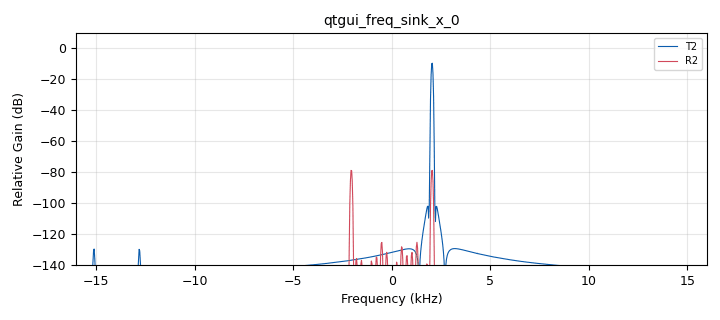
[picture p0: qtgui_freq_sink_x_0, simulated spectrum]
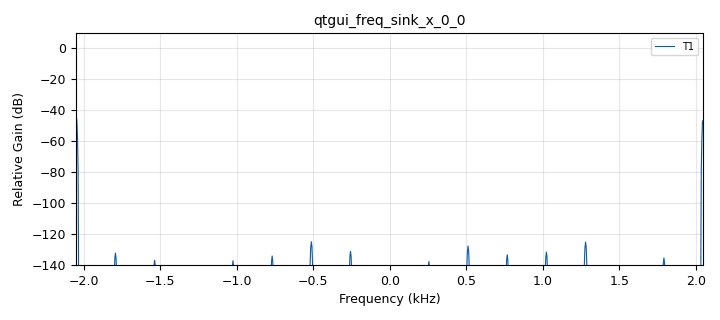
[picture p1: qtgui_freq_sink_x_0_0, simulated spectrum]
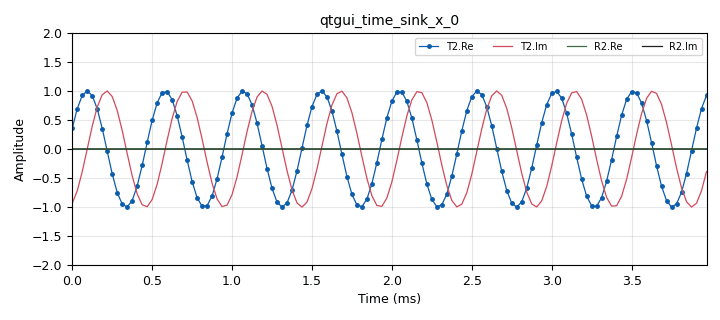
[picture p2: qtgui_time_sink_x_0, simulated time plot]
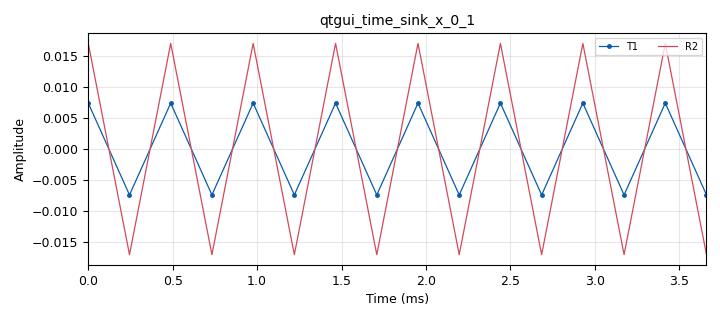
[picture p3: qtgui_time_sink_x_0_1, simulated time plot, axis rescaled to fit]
<?xml version='1.0' encoding='utf-8'?>
<?grc format='1' created='3.7.13'?>
<flow_graph>
<block>
<key>options</key>
<param><key>id</key><value>top_block</value></param>
<param><key>generate_options</key><value>qt_gui</value></param>
<param><key>run</key><value>run_stop</value></param>
</block>
<block>
<key>variable</key>
<param><key>id</key><value>Ap</value></param>
<param><key>_enabled</key><value>0</value></param>
<param><key>value</key><value>0.5</value></param>
</block>
<block>
<key>variable_qtgui_range</key>
<param><key>id</key><value>Del</value></param>
<param><key>value</key><value>0</value></param>
<param><key>gui_hint</key><value>0,2,1,1</value></param>
<param><key>label</key><value>Retardo</value></param>
<param><key>orient</key><value>Qt.Horizontal</value></param>
<param><key>start</key><value>0</value></param>
<param><key>step</key><value>1</value></param>
<param><key>stop</key><value>20000</value></param>
<param><key>rangeType</key><value>int</value></param>
</block>
<block>
<key>variable</key>
<param><key>id</key><value>Fs_deseada</value></param>
<param><key>value</key><value>f*2</value></param>
</block>
<block>
<key>variable</key>
<param><key>id</key><value>Fs_deseada</value></param>
<param><key>_enabled</key><value>0</value></param>
<param><key>value</key><value>samp_rate/Kd</value></param>
</block>
<block>
<key>variable</key>
<param><key>id</key><value>Kd</value></param>
<param><key>value</key><value>float(samp_rate)/Fs_deseada</value></param>
</block>
<block>
<key>variable</key>
<param><key>id</key><value>Kd</value></param>
<param><key>_enabled</key><value>0</value></param>
<param><key>value</key><value>6</value></param>
</block>
<block>
<key>variable_qtgui_range</key>
<param><key>id</key><value>Vol</value></param>
<param><key>value</key><value>1.</value></param>
<param><key>gui_hint</key><value>0,1,1,1</value></param>
<param><key>label</key><value>Volumen</value></param>
<param><key>orient</key><value>Qt.Horizontal</value></param>
<param><key>start</key><value>0</value></param>
<param><key>step</key><value>10/100.</value></param>
<param><key>stop</key><value>10.</value></param>
</block>
<block>
<key>variable</key>
<param><key>id</key><value>f</value></param>
<param><key>value</key><value>2048</value></param>
</block>
<block>
<key>variable</key>
<param><key>id</key><value>f_nyq</value></param>
<param><key>value</key><value>f*2</value></param>
</block>
<block>
<key>variable_qtgui_check_box</key>
<param><key>id</key><value>run_stop</value></param>
<param><key>value</key><value>True</value></param>
<param><key>false</key><value>False</value></param>
<param><key>gui_hint</key><value>0,0</value></param>
<param><key>label</key><value>Inicial/Parar</value></param>
<param><key>true</key><value>True</value></param>
<param><key>type</key><value>int</value></param>
</block>
<block>
<key>variable</key>
<param><key>id</key><value>samp_rate</value></param>
<param><key>value</key><value>32000</value></param>
</block>
<block>
<key>variable</key>
<param><key>id</key><value>samp_rate_audio</value></param>
<param><key>_enabled</key><value>0</value></param>
<param><key>value</key><value>11000</value></param>
</block>
<block>
<key>analog_sig_source_x</key>
<param><key>id</key><value>analog_sig_source_x_0</value></param>
<param><key>amp</key><value>1</value></param>
<param><key>freq</key><value>f</value></param>
<param><key>offset</key><value>0</value></param>
<param><key>type</key><value>complex</value></param>
<param><key>samp_rate</key><value>samp_rate</value></param>
<param><key>waveform</key><value>analog.GR_COS_WAVE</value></param>
</block>
<block>
<key>blocks_delay</key>
<param><key>id</key><value>blocks_delay_0</value></param>
<param><key>delay</key><value>Del</value></param>
<param><key>type</key><value>complex</value></param>
</block>
<block>
<key>blocks_multiply_const_vxx</key>
<param><key>id</key><value>blocks_multiply_const_vxx_0</value></param>
<param><key>const</key><value>Vol</value></param>
<param><key>type</key><value>complex</value></param>
</block>
<block>
<key>blocks_null_sink</key>
<param><key>id</key><value>blocks_null_sink_0</value></param>
<param><key>bus_conns</key><value>[[0,],]</value></param>
<param><key>type</key><value>complex</value></param>
</block>
<block>
<key>qtgui_tab_widget</key>
<param><key>id</key><value>menu</value></param>
<param><key>gui_hint</key><value>1,0,1,3</value></param>
<param><key>label0</key><value>tiempo</value></param>
<param><key>label1</key><value>frecuencia</value></param>
<param><key>num_tabs</key><value>2</value></param>
</block>
<block>
<key>qtgui_freq_sink_x</key>
<param><key>id</key><value>qtgui_freq_sink_x_0</value></param>
<param><key>average</key><value>0.05</value></param>
<param><key>bw</key><value>samp_rate</value></param>
<param><key>fc</key><value>0</value></param>
<param><key>fftsize</key><value>1024</value></param>
<param><key>gui_hint</key><value>menu@1:1,0,1,1</value></param>
<param><key>label1</key><value>T2</value></param>
<param><key>width1</key><value>2</value></param>
<param><key>label2</key><value>R2</value></param>
<param><key>width2</key><value>2</value></param>
<param><key>nconnections</key><value>2</value></param>
<param><key>showports</key><value>True</value></param>
<param><key>type</key><value>complex</value></param>
<param><key>wintype</key><value>firdes.WIN_BLACKMAN_hARRIS</value></param>
</block>
<block>
<key>qtgui_freq_sink_x</key>
<param><key>id</key><value>qtgui_freq_sink_x_0_0</value></param>
<param><key>average</key><value>0.05</value></param>
<param><key>bw</key><value>Fs_deseada</value></param>
<param><key>fc</key><value>0</value></param>
<param><key>fftsize</key><value>1024</value></param>
<param><key>gui_hint</key><value>menu@1:2,0,1,1</value></param>
<param><key>label1</key><value>T1</value></param>
<param><key>width1</key><value>2</value></param>
<param><key>showports</key><value>True</value></param>
<param><key>type</key><value>complex</value></param>
<param><key>wintype</key><value>firdes.WIN_BLACKMAN_hARRIS</value></param>
</block>
<block>
<key>qtgui_time_sink_x</key>
<param><key>id</key><value>qtgui_time_sink_x_0</value></param>
<param><key>gui_hint</key><value>menu@0:2,0,1,2</value></param>
<param><key>color1</key><value>"blue"</value></param>
<param><key>label1</key><value>T2.Re</value></param>
<param><key>marker1</key><value>0</value></param>
<param><key>width1</key><value>3</value></param>
<param><key>color2</key><value>"red"</value></param>
<param><key>label2</key><value>T2.Im</value></param>
<param><key>width2</key><value>3</value></param>
<param><key>color3</key><value>"green"</value></param>
<param><key>label3</key><value>R2.Re</value></param>
<param><key>color4</key><value>"black"</value></param>
<param><key>label4</key><value>R2.Im</value></param>
<param><key>nconnections</key><value>2</value></param>
<param><key>size</key><value>1024/8</value></param>
<param><key>srate</key><value>samp_rate</value></param>
<param><key>type</key><value>complex</value></param>
<param><key>ymax</key><value>2</value></param>
<param><key>ymin</key><value>-2</value></param>
</block>
<block>
<key>qtgui_time_sink_x</key>
<param><key>id</key><value>qtgui_time_sink_x_0_1</value></param>
<param><key>gui_hint</key><value>menu@0:3,0,1,2</value></param>
<param><key>color1</key><value>"blue"</value></param>
<param><key>label1</key><value>T1</value></param>
<param><key>marker1</key><value>0</value></param>
<param><key>width1</key><value>3</value></param>
<param><key>color2</key><value>"red"</value></param>
<param><key>label2</key><value>R2</value></param>
<param><key>width2</key><value>3</value></param>
<param><key>size</key><value>int((1024/8)/Kd)</value></param>
<param><key>srate</key><value>Fs_deseada</value></param>
<param><key>type</key><value>complex</value></param>
<param><key>ymax</key><value>2</value></param>
<param><key>ymin</key><value>-2</value></param>
</block>
<block>
<key>rational_resampler_xxx</key>
<param><key>id</key><value>rational_resampler_xxx_0</value></param>
<param><key>decim</key><value>samp_rate</value></param>
<param><key>interp</key><value>Fs_deseada</value></param>
<param><key>taps</key><value></value></param>
<param><key>type</key><value>ccc</value></param>
</block>
<block>
<key>rational_resampler_xxx</key>
<param><key>id</key><value>rational_resampler_xxx_0_0</value></param>
<param><key>decim</key><value>Kd</value></param>
<param><key>_enabled</key><value>0</value></param>
<param><key>interp</key><value>1</value></param>
<param><key>taps</key><value></value></param>
<param><key>type</key><value>ccc</value></param>
</block>
<block>
<key>rational_resampler_xxx</key>
<param><key>id</key><value>rational_resampler_xxx_1</value></param>
<param><key>decim</key><value>Fs_deseada</value></param>
<param><key>interp</key><value>samp_rate</value></param>
<param><key>taps</key><value></value></param>
<param><key>type</key><value>ccc</value></param>
</block>
<block>
<key>rational_resampler_xxx</key>
<param><key>id</key><value>rational_resampler_xxx_1_0</value></param>
<param><key>decim</key><value>1</value></param>
<param><key>_enabled</key><value>0</value></param>
<param><key>interp</key><value>Kd</value></param>
<param><key>taps</key><value></value></param>
<param><key>type</key><value>ccc</value></param>
</block>
<block>
<key>virtual_sink</key>
<param><key>id</key><value>virtual_sink_0_1_0_0</value></param>
<param><key>stream_id</key><value>T2</value></param>
</block>
<block>
<key>virtual_sink</key>
<param><key>id</key><value>virtual_sink_0_1_0_0_0</value></param>
<param><key>stream_id</key><value>T1</value></param>
</block>
<block>
<key>virtual_sink</key>
<param><key>id</key><value>virtual_sink_0_1_1</value></param>
<param><key>stream_id</key><value>R2</value></param>
</block>
<block>
<key>virtual_source</key>
<param><key>id</key><value>virtual_source_0</value></param>
<param><key>stream_id</key><value>T2</value></param>
</block>
<block>
<key>virtual_source</key>
<param><key>id</key><value>virtual_source_0_0</value></param>
<param><key>stream_id</key><value>R2</value></param>
</block>
<block>
<key>virtual_source</key>
<param><key>id</key><value>virtual_source_0_0_0</value></param>
<param><key>stream_id</key><value>T2</value></param>
</block>
<block>
<key>virtual_source</key>
<param><key>id</key><value>virtual_source_0_0_0_0</value></param>
<param><key>stream_id</key><value>T1</value></param>
</block>
<block>
<key>virtual_source</key>
<param><key>id</key><value>virtual_source_0_1</value></param>
<param><key>stream_id</key><value>R2</value></param>
</block>
<block>
<key>virtual_source</key>
<param><key>id</key><value>virtual_source_0_2</value></param>
<param><key>stream_id</key><value>T1</value></param>
</block>
<connection><source_block_id>analog_sig_source_x_0</source_block_id><sink_block_id>rational_resampler_xxx_0</sink_block_id><source_key>0</source_key><sink_key>0</sink_key></connection>
<connection><source_block_id>analog_sig_source_x_0</source_block_id><sink_block_id>rational_resampler_xxx_0_0</sink_block_id><source_key>0</source_key><sink_key>0</sink_key></connection>
<connection><source_block_id>analog_sig_source_x_0</source_block_id><sink_block_id>virtual_sink_0_1_0_0</sink_block_id><source_key>0</source_key><sink_key>0</sink_key></connection>
<connection><source_block_id>blocks_delay_0</source_block_id><sink_block_id>qtgui_time_sink_x_0</sink_block_id><source_key>0</source_key><sink_key>0</sink_key></connection>
<connection><source_block_id>blocks_multiply_const_vxx_0</source_block_id><sink_block_id>rational_resampler_xxx_1</sink_block_id><source_key>0</source_key><sink_key>0</sink_key></connection>
<connection><source_block_id>blocks_multiply_const_vxx_0</source_block_id><sink_block_id>rational_resampler_xxx_1_0</sink_block_id><source_key>0</source_key><sink_key>0</sink_key></connection>
<connection><source_block_id>rational_resampler_xxx_0</source_block_id><sink_block_id>blocks_multiply_const_vxx_0</sink_block_id><source_key>0</source_key><sink_key>0</sink_key></connection>
<connection><source_block_id>rational_resampler_xxx_0</source_block_id><sink_block_id>virtual_sink_0_1_0_0_0</sink_block_id><source_key>0</source_key><sink_key>0</sink_key></connection>
<connection><source_block_id>rational_resampler_xxx_0_0</source_block_id><sink_block_id>blocks_multiply_const_vxx_0</sink_block_id><source_key>0</source_key><sink_key>0</sink_key></connection>
<connection><source_block_id>rational_resampler_xxx_0_0</source_block_id><sink_block_id>virtual_sink_0_1_0_0_0</sink_block_id><source_key>0</source_key><sink_key>0</sink_key></connection>
<connection><source_block_id>rational_resampler_xxx_1</source_block_id><sink_block_id>blocks_null_sink_0</sink_block_id><source_key>0</source_key><sink_key>0</sink_key></connection>
<connection><source_block_id>rational_resampler_xxx_1</source_block_id><sink_block_id>virtual_sink_0_1_1</sink_block_id><source_key>0</source_key><sink_key>0</sink_key></connection>
<connection><source_block_id>rational_resampler_xxx_1_0</source_block_id><sink_block_id>blocks_null_sink_0</sink_block_id><source_key>0</source_key><sink_key>0</sink_key></connection>
<connection><source_block_id>rational_resampler_xxx_1_0</source_block_id><sink_block_id>virtual_sink_0_1_1</sink_block_id><source_key>0</source_key><sink_key>0</sink_key></connection>
<connection><source_block_id>virtual_source_0</source_block_id><sink_block_id>blocks_delay_0</sink_block_id><source_key>0</source_key><sink_key>0</sink_key></connection>
<connection><source_block_id>virtual_source_0_0</source_block_id><sink_block_id>qtgui_freq_sink_x_0</sink_block_id><source_key>0</source_key><sink_key>1</sink_key></connection>
<connection><source_block_id>virtual_source_0_0_0</source_block_id><sink_block_id>qtgui_freq_sink_x_0</sink_block_id><source_key>0</source_key><sink_key>0</sink_key></connection>
<connection><source_block_id>virtual_source_0_0_0_0</source_block_id><sink_block_id>qtgui_freq_sink_x_0_0</sink_block_id><source_key>0</source_key><sink_key>0</sink_key></connection>
<connection><source_block_id>virtual_source_0_1</source_block_id><sink_block_id>qtgui_time_sink_x_0</sink_block_id><source_key>0</source_key><sink_key>1</sink_key></connection>
<connection><source_block_id>virtual_source_0_2</source_block_id><sink_block_id>qtgui_time_sink_x_0_1</sink_block_id><source_key>0</source_key><sink_key>0</sink_key></connection>
</flow_graph>
